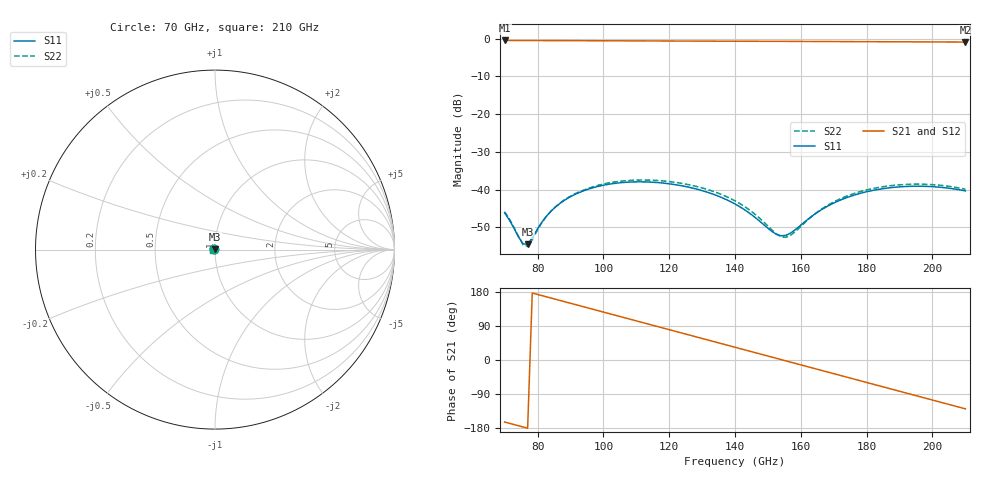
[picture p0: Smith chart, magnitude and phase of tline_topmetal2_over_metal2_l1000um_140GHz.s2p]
#  GHZ S DB R 50
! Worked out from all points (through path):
!   101 points, 70 GHz to 210 GHz, reference 50 ohm
!   highest |S21| = -0.50 dB at 70 GHz (marker M1); lowest = -0.9 dB at 210 GHz (marker M2)
!   group delay of S21, straight-line fit = 6.45 ps
!   lowest |S11| = -54.5 dB at 77 GHz (marker M3), VSWR 1.00, Z = 50.1 + j0.176 ohm
!   |S11| at or under -10 dB: start of sweep to end of sweep
!   |S22| runs from -55.0 to -37.5 dB; largest |S21 - S12| = 2.2e-14
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70  -46.16 169.1  -0.50 -163.7  -0.50 -163.7  -45.87 170.7
75.6  -54.38 101.2  -0.52 -176.7  -0.52 -176.7  -54.61 105.3
77  -54.48 68.2  -0.52 -180.0  -0.52 -180.0  -55.00 70.3
81.2  -48.80 10.2  -0.53 170.2  -0.53 170.2  -48.95 8.7
84  -45.82 -7.1  -0.54 163.7  -0.54 163.7  -45.81 -8.6
88.2  -42.83 -25.3  -0.55 154.0  -0.55 154.0  -42.71 -26.6
93.8  -40.40 -45.0  -0.57 140.9  -0.57 140.9  -40.21 -45.8
100.8  -38.73 -67.2  -0.59 124.7  -0.59 124.7  -38.39 -67.4
106.4  -38.11 -84.2  -0.61 111.6  -0.61 111.6  -37.68 -84.2
117.6  -38.24 -117.6  -0.64 85.6  -0.64 85.6  -37.68 -116.8
128.8  -39.99 -151.7  -0.67 59.6  -0.67 59.6  -39.29 -149.8
140  -43.83 169.1  -0.70 33.6  -0.70 33.6  -43.00 173.0
147  -48.02 133.9  -0.72 17.4  -0.72 17.4  -47.22 140.7
151.2  -51.09 99.1  -0.73 7.6  -0.73 7.6  -50.70 108.6
154  -52.25 65.9  -0.74 1.1  -0.74 1.1  -52.52 75.0
156.8  -51.57 31.1  -0.75 -5.4  -0.75 -5.4  -52.18 36.1
163.8  -46.78 -24.2  -0.77 -21.7  -0.77 -21.7  -46.78 -23.7
173.6  -42.25 -66.7  -0.80 -44.4  -0.80 -44.4  -41.86 -65.4
180.6  -40.46 -91.1  -0.83 -60.7  -0.83 -60.7  -39.98 -89.0
187.6  -39.48 -114.0  -0.85 -76.9  -0.85 -76.9  -38.94 -111.2
198.8  -39.18 -150.0  -0.89 -102.9  -0.89 -102.9  -38.65 -145.9
210  -40.36 173.1  -0.92 -128.9  -0.92 -128.9  -39.92 178.4
